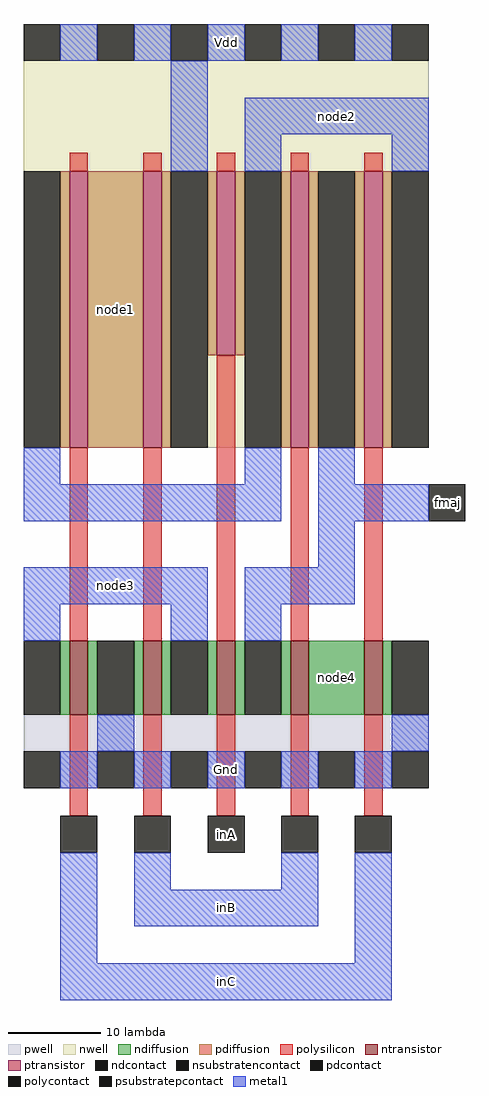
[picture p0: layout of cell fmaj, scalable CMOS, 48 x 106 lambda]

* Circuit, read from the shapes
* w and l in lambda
.subckt fmaj Gnd Vdd inA inB inC node1 node2 node3 node4
M1 Gnd inC node3 Gnd nfet w=8 l=2
M2 node3 inB Gnd Gnd nfet w=8 l=2
M3 n1 inA node3 Gnd nfet w=8 l=2
M4 node4 inB n1 Gnd nfet w=8 l=2
M5 Gnd inC node4 Gnd nfet w=8 l=2
M6 node1 inC node2 Vdd pfet w=30 l=2
M7 Vdd inB node1 Vdd pfet w=30 l=2
M8 node2 inA Vdd Vdd pfet w=20 l=2
M9 n1 inB node2 Vdd pfet w=30 l=2
M10 node2 inC n1 Vdd pfet w=30 l=2
.ends

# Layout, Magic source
magic
tech scmos
<< pwell >>
rect -12 -61 32 -45
<< nwell >>
rect -12 -24 32 22
<< polysilicon >>
rect -7 6 -5 8
rect 1 6 3 8
rect 9 6 11 8
rect 17 6 19 8
rect 25 6 27 8
rect -7 -45 -5 -24
rect 1 -45 3 -24
rect 9 -45 11 -14
rect 17 -45 19 -24
rect 25 -45 27 -24
rect -7 -64 -5 -53
rect 1 -64 3 -53
rect 9 -64 11 -53
rect 17 -64 19 -53
rect 25 -64 27 -53
<< ndiffusion >>
rect -8 -53 -7 -45
rect -5 -53 -4 -45
rect 0 -53 1 -45
rect 3 -53 4 -45
rect 8 -53 9 -45
rect 11 -53 12 -45
rect 16 -53 17 -45
rect 19 -53 25 -45
rect 27 -53 28 -45
<< pdiffusion >>
rect -8 -24 -7 6
rect -5 -24 1 6
rect 3 -24 4 6
rect 8 -14 9 6
rect 11 -14 12 6
rect 16 -24 17 6
rect 19 -24 20 6
rect 24 -24 25 6
rect 27 -24 28 6
<< metal1 >>
rect -8 18 -4 22
rect 0 18 4 22
rect 8 18 12 22
rect 16 18 20 22
rect 24 18 28 22
rect 4 6 8 18
rect 12 10 32 14
rect 12 6 16 10
rect 28 6 32 10
rect -12 -28 -8 -24
rect 12 -28 16 -24
rect -12 -32 16 -28
rect 20 -28 24 -24
rect 20 -32 32 -28
rect 20 -37 24 -32
rect -12 -41 8 -37
rect -12 -45 -8 -41
rect 4 -45 8 -41
rect 12 -41 24 -37
rect 12 -45 16 -41
rect -4 -57 0 -53
rect 28 -57 32 -53
rect -8 -61 -4 -57
rect 0 -61 4 -57
rect 8 -61 12 -57
rect 16 -61 20 -57
rect 24 -61 28 -57
rect -8 -80 -4 -68
rect 0 -72 4 -68
rect 16 -72 20 -68
rect 0 -76 20 -72
rect 24 -80 28 -68
rect -8 -84 28 -80
<< ntransistor >>
rect -7 -53 -5 -45
rect 1 -53 3 -45
rect 9 -53 11 -45
rect 17 -53 19 -45
rect 25 -53 27 -45
<< ptransistor >>
rect -7 -24 -5 6
rect 1 -24 3 6
rect 9 -14 11 6
rect 17 -24 19 6
rect 25 -24 27 6
<< polycontact >>
rect 32 -32 36 -28
rect -8 -68 -4 -64
rect 0 -68 4 -64
rect 8 -68 12 -64
rect 16 -68 20 -64
rect 24 -68 28 -64
<< ndcontact >>
rect -12 -53 -8 -45
rect -4 -53 0 -45
rect 4 -53 8 -45
rect 12 -53 16 -45
rect 28 -53 32 -45
<< pdcontact >>
rect -12 -24 -8 6
rect 4 -24 8 6
rect 12 -24 16 6
rect 20 -24 24 6
rect 28 -24 32 6
<< psubstratepcontact >>
rect -12 -61 -8 -57
rect -4 -61 0 -57
rect 4 -61 8 -57
rect 12 -61 16 -57
rect 20 -61 24 -57
rect 28 -61 32 -57
<< nsubstratencontact >>
rect -12 18 -8 22
rect -4 18 0 22
rect 4 18 8 22
rect 12 18 16 22
rect 20 18 24 22
rect 28 18 32 22
<< labels >>
rlabel polycontact 32 -32 36 -28 0 fmaj
rlabel metal1 -4 -41 0 -37 0 node3
rlabel pdiffusion -5 -24 1 6 0 node1
rlabel metal1 -12 18 32 22 0 Vdd
rlabel metal1 12 10 32 14 0 node2
rlabel ndiffusion 19 -53 25 -45 0 node4
rlabel metal1 -12 -61 32 -57 0 Gnd
rlabel metal1 -8 -84 28 -80 0 inC
rlabel metal1 0 -76 20 -72 0 inB
rlabel polycontact 8 -68 12 -64 0 inA
<< end >>
